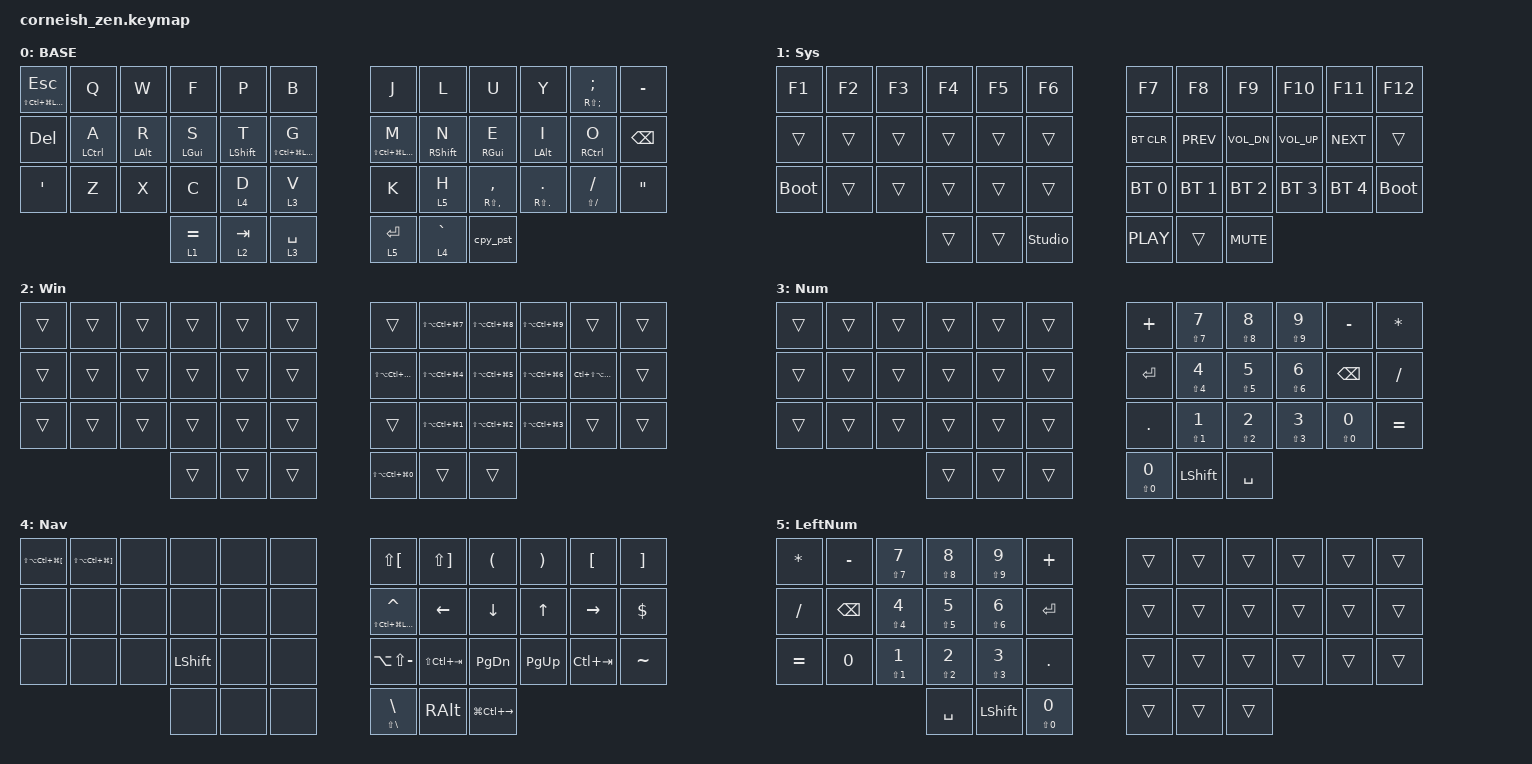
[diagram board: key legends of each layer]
/*
*
* Copyright (c) 2021 Darryl deHaan
* SPDX-License-Identifier: MIT
*
*/

#include <behaviors.dtsi>
#include <dt-bindings/zmk/bt.h>
#include <dt-bindings/zmk/keys.h>

/ {
    chosen {
        zmk,physical-layout = &foostan_corne_6col_layout;

        // zmk,physical-layout = &foostan_corne_5col_layout;
    };
};

/ {
    behaviors {
        cpy_pst: cpy_pst {
            compatible = "zmk,behavior-tap-dance";
            label = "CPY_PST";
            #binding-cells = <0>;
            bindings = <&kp LG(C)>, <&kp LG(V)>;

            tapping-term-ms = <125>;
        };

        hml: hml {
            compatible = "zmk,behavior-hold-tap";
            label = "HML";
            bindings = <&kp>, <&kp>;

            #binding-cells = <2>;
            tapping-term-ms = <200>;
            quick-tap-ms = <150>;
            flavor = "balanced";
            hold-trigger-key-positions = <36 37 38 39 40 41 30 18 6 7 31 19 8 20 32 33 21 9 10 22 35 34 23 11>;
            require-prior-idle-ms = <125>;
        };

        hmr: hmr {
            compatible = "zmk,behavior-hold-tap";
            label = "HMR";
            bindings = <&kp>, <&kp>;

            #binding-cells = <2>;
            tapping-term-ms = <200>;
            quick-tap-ms = <150>;
            flavor = "balanced";
            hold-trigger-key-positions = <41 40 39 0 1 2 3 4 5 12 13 14 15 16 17 24 25 26 27 28 29 36 37 38>;
            require-prior-idle-ms = <125>;
        };
    };

    combos {
        compatible = "zmk,combos";

        minus {
            bindings = <&kp MINUS>;
            key-positions = <4 7>;
        };

        underscore {
            bindings = <&kp LS(MINUS)>;
            key-positions = <28 31>;
        };

        equals {
            bindings = <&kp EQUAL>;
            key-positions = <17 18>;
        };

        sleep {
            bindings = <&kp LA(LG(C_SLEEP))>;
            key-positions = <24 35>;
        };

        CapsWord {
            bindings = <&caps_word>;
            key-positions = <5 6>;
        };
    };

    keymap {
        compatible = "zmk,keymap";

        base {
            label = "BASE";

            // --------------------------------------------------------------------------------
            // |  TAB |  Q  |  W  |  E  |  R  |  T  |   |  Y  |  U   |  I  |  O  |  P  | BKSP |
            // | CTRL |  A  |  S  |  D  |  F  |  G  |   |  H  |  J   |  K  |  L  |  ;  |  '   |
            // | SHFT |  Z  |  X  |  C  |  V  |  B  |   |  N  |  M   |  ,  |  .  |  /  | ESC  |
            //                    | GUI | LWR | SPC |   | ENT | RSE  | ALT |

            bindings = <
&mt LS(LC(LG(LALT))) ESC  &kp Q         &kp W            &kp F        &kp P          &kp B                          &kp J                        &kp L          &kp U                &kp Y                  &mt RS(SEMICOLON) SEMICOLON  &kp MINUS
&kp DEL                   &hml LCTRL A  &hml LEFT_ALT R  &hml LGUI S  &hml LSHIFT T  &hml LS(LC(LG(LEFT_ALT))) G    &hmr LS(LC(LG(LEFT_ALT))) M  &hmr RSHIFT N  &hmr RGUI E          &hmr LEFT_ALT I        &hmr RCTRL O                 &kp BSPC
&kp SINGLE_QUOTE          &kp Z         &kp X            &kp C        &lt 4 D        &lt 3 V                        &kp K                        &lt 5 H        &mt RS(COMMA) COMMA  &mt RS(PERIOD) PERIOD  &mt LS(SLASH) SLASH          &kp DOUBLE_QUOTES
                                                         &lt 1 EQUAL  &lt 2 TAB      &lt 3 SPACE                    &lt 5 ENTER                  &lt 4 GRAVE    &cpy_pst
            >;
        };

        system {
            bindings = <
&kp F1       &kp F2  &kp F3  &kp F4  &kp F5  &kp F6            &kp F7        &kp F8        &kp F9        &kp F10          &kp F11       &kp F12
&trans       &trans  &trans  &trans  &trans  &trans            &bt BT_CLR    &kp C_PREV    &kp C_VOL_DN  &kp C_VOLUME_UP  &kp C_NEXT    &trans
&bootloader  &trans  &trans  &trans  &trans  &trans            &bt BT_SEL 0  &bt BT_SEL 1  &bt BT_SEL 2  &bt BT_SEL 3     &bt BT_SEL 4  &bootloader
                             &trans  &trans  &studio_unlock    &kp C_PLAY    &trans        &kp C_MUTE
            >;

            label = "Sys";
        };

        window {
            bindings = <
&trans  &trans  &trans  &trans  &trans  &trans    &trans                          &kp LS(LA(LC(LG(N7))))        &kp LS(LA(LC(LG(N8))))        &kp LS(LA(LC(LG(N9))))        &trans                     &trans
&trans  &trans  &trans  &trans  &trans  &trans    &kp LS(LA(LC(LG(LEFT_ARROW))))  &kp LS(LA(LC(LG(NUMBER_4))))  &kp LS(LA(LC(LG(N5))))        &kp LS(LA(LC(LG(NUMBER_6))))  &kp LC(LS(LA(LG(RIGHT))))  &trans
&trans  &trans  &trans  &trans  &trans  &trans    &trans                          &kp LS(LA(LC(LG(NUMBER_1))))  &kp LS(LA(LC(LG(NUMBER_2))))  &kp LS(LA(LC(LG(NUMBER_3))))  &trans                     &trans
                        &trans  &trans  &trans    &kp LS(LA(LC(LG(N0))))          &trans                        &trans
            >;

            label = "Win";
        };

        right_num {
            bindings = <
&trans  &trans  &trans  &trans  &trans  &trans    &kp PLUS       &mt LS(N7) N7              &mt LS(N8) N8              &mt LS(N9) N9              &kp MINUS            &kp ASTRK
&trans  &trans  &trans  &trans  &trans  &trans    &kp ENTER      &mt LS(NUMBER_4) NUMBER_4  &mt LS(N5) N5              &mt LS(NUMBER_6) NUMBER_6  &kp BACKSPACE        &kp SLASH
&trans  &trans  &trans  &trans  &trans  &trans    &kp PERIOD     &mt LS(NUMBER_1) NUMBER_1  &mt LS(NUMBER_2) NUMBER_2  &mt LS(NUMBER_3) NUMBER_3  &mt LS(N0) NUMBER_0  &kp EQUAL
                        &trans  &trans  &trans    &mt LS(N0) N0  &kp LEFT_SHIFT             &kp SPACE
            >;

            label = "Num";
        };

        Nav {
            label = "Nav";
            bindings = <
&kp LS(LA(LC(LG(LEFT_BRACKET))))  &kp LS(LA(LC(LG(RIGHT_BRACKET))))  &none  &none           &none  &none    &kp LS(LBKT)                    &kp LS(RBKT)     &kp LPAR           &kp RPAR   &kp LBKT     &kp RBKT
&none                             &none                              &none  &none           &none  &none    &mt LS(LC(LG(LEFT_ALT))) CARET  &kp LEFT         &kp DOWN           &kp UP     &kp RIGHT    &kp DOLLAR
&none                             &none                              &none  &kp LEFT_SHIFT  &none  &none    &kp LA(LS(MINUS))               &kp LS(LC(TAB))  &kp PG_DN          &kp PG_UP  &kp LC(TAB)  &kp TILDE
                                                                            &none           &none  &none    &mt LS(BACKSLASH) BACKSLASH     &kp RIGHT_ALT    &kp LG(LC(RIGHT))
            >;
        };

        left-num {
            label = "LeftNum";
            bindings = <
&kp ASTERISK  &kp MINUS      &mt LS(N7) N7              &mt LS(N8) N8              &mt LS(N9) N9              &kp PLUS         &trans  &trans  &trans  &trans  &trans  &trans
&kp SLASH     &kp BACKSPACE  &mt LS(NUMBER_4) NUMBER_4  &mt LS(N5) N5              &mt LS(NUMBER_6) NUMBER_6  &kp ENTER        &trans  &trans  &trans  &trans  &trans  &trans
&kp EQUAL     &kp NUMBER_0   &mt LS(NUMBER_1) NUMBER_1  &mt LS(NUMBER_2) NUMBER_2  &mt LS(NUMBER_3) NUMBER_3  &kp PERIOD       &trans  &trans  &trans  &trans  &trans  &trans
                                                        &kp SPACE                  &kp LEFT_SHIFT             &mt LS(N0) N0    &trans  &trans  &trans
            >;
        };
    };
};
